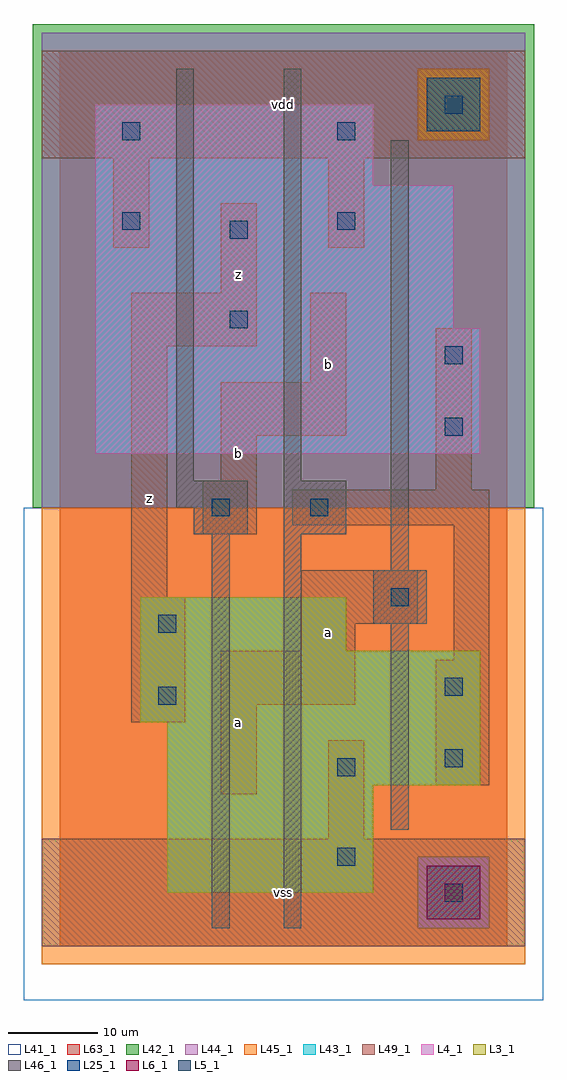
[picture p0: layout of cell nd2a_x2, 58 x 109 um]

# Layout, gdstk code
import gdstk
lib = gdstk.Library(unit=1e-6, precision=1e-09)
def R(c, l, rs):  # rectangles x0, y0, x1, y1
    for r in rs: c.add(gdstk.rectangle(r[:2], r[2:], *l))
L3_1 = (3, 1)
L4_1 = (4, 1)
L5_1 = (5, 1)
L6_1 = (6, 1)
L25_1 = (25, 1)
L41_1 = (41, 1)
L42_1 = (42, 1)
L43_1 = (43, 1)
L44_1 = (44, 1)
L45_1 = (45, 1)
L46_1 = (46, 1)
L49_1 = (49, 1)
L63_1 = (63, 1)

nd2a_x2 = lib.new_cell('nd2a_x2')
R(nd2a_x2, L3_1, [(12,6,35,18), (12,18,47,25), (9,25,47,33), (9,33,32,39)])
R(nd2a_x2, L4_1, [(4,55,47,69), (4,69,44,85), (4,85,35,94)])
R(nd2a_x2, L5_1, [(41,91,47,97)])
R(nd2a_x2, L6_1, [(41,3,47,9)])
R(nd2a_x2, L25_1, [(43,5,45,7), (31,9,33,11), (31,19,33,21), (43,20,45,22), (11,27,13,29), (43,28,45,30), (11,35,13,37), (37,38,39,40), (17,48,19,50), (28,48,30,50), (43,57,45,59), (43,65,45,67), (19,69,21,71), (19,79,21,81), (7,80,9,82), (31,80,33,82), (7,90,9,92), (31,90,33,92), (43,93,45,95)])
R(nd2a_x2, L41_1, [(-4,-6,54,49), (-3,-3,53,49)])
R(nd2a_x2, L42_1, [(-3,49,53,103)])
R(nd2a_x2, L43_1, [(41,3,47,9), (12,6,35,18), (12,18,47,25), (9,25,47,33), (9,33,32,39), (4,55,47,69), (4,69,44,85), (4,85,35,94), (41,91,47,97)])
R(nd2a_x2, L44_1, [(40,2,48,10), (-2,49,52,90), (-2,90,40,98), (48,90,52,98), (-2,98,52,102)])
R(nd2a_x2, L45_1, [(-2,-2,52,2), (-2,2,40,10), (48,2,52,10), (-2,10,52,49), (40,90,48,98)])
R(nd2a_x2, L46_1, [(17,2,19,46), (25,2,27,46), (37,13,39,36), (35,36,41,42), (37,42,39,90), (15,46,21,49), (25,46,32,52), (13,49,21,52), (13,52,15,98), (25,52,27,98)])
R(nd2a_x2, L49_1, [(-2,0,52,12), (30,12,34,23), (18,17,22,27), (42,18,48,32), (8,25,14,39), (18,27,33,33), (44,32,48,47), (27,33,33,36), (27,36,40,42), (8,39,12,67), (16,46,22,52), (26,47,48,51), (42,51,46,69), (18,52,22,57), (18,57,32,63), (28,63,32,73), (8,67,22,73), (18,73,22,83), (6,78,10,88), (30,78,34,88), (-2,88,52,100)])
R(nd2a_x2, L63_1, [(0,0,50,100)])
nd2a_x2.add(gdstk.Label('a', (20,25), layer=49, texttype=1))
nd2a_x2.add(gdstk.Label('a', (20,25), layer=49, texttype=1))
nd2a_x2.add(gdstk.Label('z', (10,50), layer=49, texttype=1))
nd2a_x2.add(gdstk.Label('z', (10,50), layer=49, texttype=1))
nd2a_x2.add(gdstk.Label('b', (20,55), layer=49, texttype=1))
nd2a_x2.add(gdstk.Label('b', (20,55), layer=49, texttype=1))
nd2a_x2.add(gdstk.Label('z', (20,75), layer=49, texttype=1))
nd2a_x2.add(gdstk.Label('z', (20,75), layer=49, texttype=1))
nd2a_x2.add(gdstk.Label('vss', (25,6), layer=49, texttype=1))
nd2a_x2.add(gdstk.Label('vss', (25,6), layer=49, texttype=1))
nd2a_x2.add(gdstk.Label('a', (30,35), layer=49, texttype=1))
nd2a_x2.add(gdstk.Label('a', (30,35), layer=49, texttype=1))
nd2a_x2.add(gdstk.Label('b', (30,65), layer=49, texttype=1))
nd2a_x2.add(gdstk.Label('b', (30,65), layer=49, texttype=1))
nd2a_x2.add(gdstk.Label('vdd', (25,94), layer=49, texttype=1))
nd2a_x2.add(gdstk.Label('vdd', (25,94), layer=49, texttype=1))

lib.write_gds('nd2a_x2.gds')
